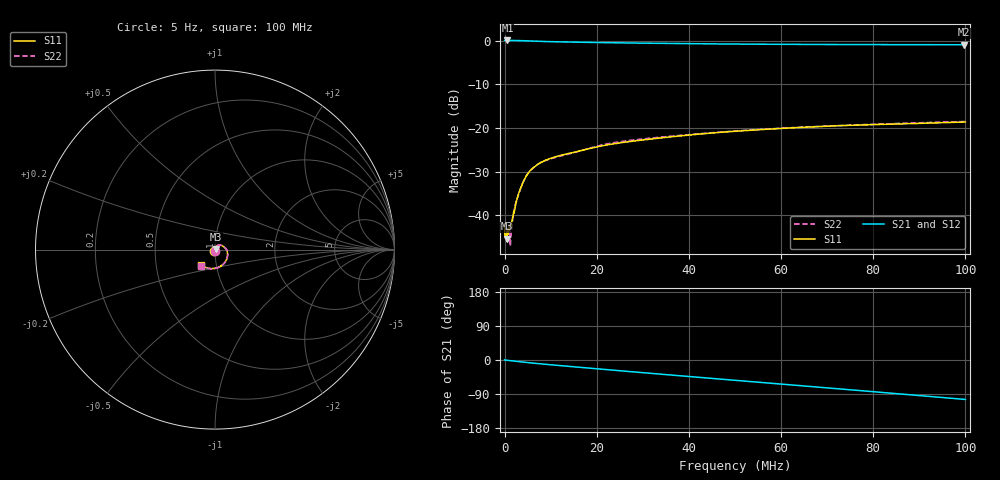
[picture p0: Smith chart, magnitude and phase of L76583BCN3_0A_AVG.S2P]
!Agilent Technologies,E5061B,MY49102235,A.02.00
!Date: Tue Jul 11 15:37:37 2023
!Data & Calibration Information:
!Freq	S11:SOLT2(ON)	S21:SOLT2(ON)	S12:SOLT2(ON)	S22:SOLT2(ON)
# Hz S RI R 50
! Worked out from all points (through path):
!   1600 points, 5 Hz to 100 MHz, reference 50 ohm
!   highest |S21| = 0.02 dB at 625.4 kHz (marker M1); lowest = -1.0 dB at 99.75 MHz (marker M2)
!   group delay of S21, straight-line fit = 2.83 ns
!   lowest |S11| = -45.4 dB at 500.3 kHz (marker M3), VSWR 1.01, Z = 50.5 + j0.262 ohm
!   |S11| at or under -10 dB: start of sweep to end of sweep
!   |S22| runs from -47.1 to -18.5 dB; largest |S21 - S12| = 0.0026
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5  -0.00525 -0.00564  1.002 0.00804  1 0.0102  -0.00146 -0.00754
500317.7  0.00472 0.00259  1.001 -0.0108  1.002 -0.0108  0.00493 0.00103
625395.8  0.00527 0.0032  1.002 -0.0143  1.002 -0.0139  0.00629 0.0028
1000630  0.00415 0.00533  1.001 -0.0226  1.001 -0.0221  0.00551 0.00438
1500943  0.00502 0.00664  1.001 -0.0343  1.001 -0.034  0.00366 0.00551
1688560  0.00466 0.00765  0.9999 -0.0397  1.001 -0.0397  0.00438 0.00681
2063795  0.00429 0.0104  1 -0.049  0.9996 -0.0492  0.00473 0.0102
2376490  0.00495 0.0121  0.9983 -0.0565  0.9986 -0.0568  0.00558 0.0124
2876803  0.00692 0.0149  0.9962 -0.0695  0.9964 -0.0686  0.00611 0.0155
3377116  0.00871 0.0178  0.9947 -0.081  0.9943 -0.0811  0.00756 0.0179
4440280  0.0135 0.0227  0.9884 -0.1063  0.9879 -0.1061  0.013 0.0232
5565983  0.0199 0.0254  0.9798 -0.1303  0.9796 -0.1299  0.0197 0.0258
7504695  0.0297 0.0253  0.9652 -0.1671  0.965 -0.1671  0.0295 0.026
9380868  0.0368 0.0233  0.9521 -0.2005  0.9517 -0.2001  0.0364 0.0234
1.669794e7  0.0538 0.0114  0.8998 -0.3215  0.8996 -0.3212  0.0537 0.0114
2.345216e7  0.0652 -0.00294  0.8426 -0.4244  0.8424 -0.424  0.0673 -0.00401
3.333334e7  0.0697 -0.0306  0.7432 -0.5567  0.743 -0.5564  0.071 -0.0317
5.003127e7  0.0521 -0.0752  0.541 -0.7339  0.5409 -0.7335  0.052 -0.0761
6.672921e7  0.00927 -0.1023  0.3043 -0.8495  0.3046 -0.8493  0.0102 -0.1027
8.33646e7  -0.037 -0.1037  0.0461 -0.8966  0.0461 -0.8966  -0.0362 -0.1053
9.974984e7  -0.0781 -0.0867  -0.2143 -0.8684  -0.214 -0.8684  -0.0773 -0.0895
1e8  -0.0786 -0.0864  -0.2182 -0.8675  -0.218 -0.8674  -0.078 -0.089
